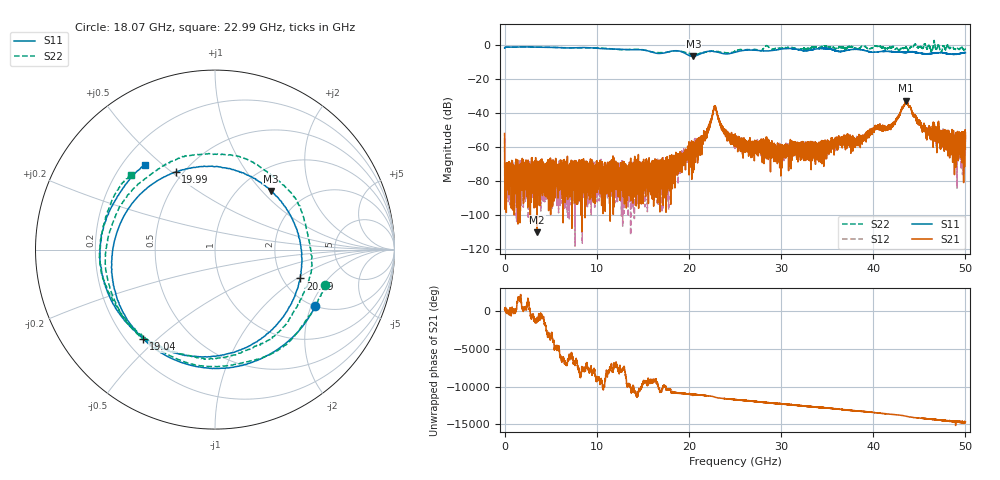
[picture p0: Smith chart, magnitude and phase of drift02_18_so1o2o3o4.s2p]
!Created with skrf (http://scikit-rf.org).
# Hz S RI R 50.0
!freq ReS11 ImS11 ReS21 ImS21 ReS12 ImS12 ReS22 ImS22
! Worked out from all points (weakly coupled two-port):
!   10001 points, 300 kHz to 50 GHz, reference 50 ohm
!   highest |S21| = -32.90 dB at 43.57 GHz (marker M1); lowest = -110.0 dB at 3.535 GHz (marker M2)
!   lowest |S11| = -6.9 dB at 20.49 GHz (marker M3), VSWR 2.64, Z = 68.6 + j56.1 ohm
!   |S11| at or under -10 dB: nowhere
!   |S22| runs from -5.7 to 2.4 dB; largest |S21 - S12| = 0.004
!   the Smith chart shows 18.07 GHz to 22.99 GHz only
!   S11 on the Smith chart (normalised r, x): 18.07 GHz: 2.00, -2.13; 19.04 GHz: 0.27, -0.45; 19.99 GHz: 0.46, +0.52; 20.99 GHz: 2.48, -1.07; 22.99 GHz: 0.29, +0.44
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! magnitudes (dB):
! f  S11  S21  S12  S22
! 300 kHz  -2.1  -52.1  -54.8  -2.1
! 265.3 MHz  -1.4  -73.8  -76.5  -1.4
! 3.535 GHz  -1.5  -110.0  -84.1  -1.5
! 8.335 GHz  -1.7  -75.4  -89.1  -1.9
! 16.67 GHz  -5.2  -77.5  -68.3  -4.7
! 18.07 GHz  -3.9  -73.3  -73.4  -3.8
! 19.04 GHz  -3.9  -68.8  -65.2  -3.9
! 19.99 GHz  -6.3  -63.7  -65.9  -5.2
! 20.49 GHz  -6.9  -62.9  -68.2  -5.5
! 20.99 GHz  -6.0  -55.0  -58.6  -5.6
! 22.01 GHz  -4.0  -50.3  -50.6  -4.2
! 22.72 GHz  -4.1  -37.4  -37.5  -3.9
! 22.99 GHz  -4.2  -38.7  -38.8  -4.1
! 23.73 GHz  -5.3  -48.9  -50.7  -4.6
! 25 GHz  -4.5  -55.2  -58.9  -3.9
! 29.74 GHz  -2.9  -63.3  -62.7  -2.1
! 33.34 GHz  -3.1  -60.3  -58.8  -1.6
! 41.67 GHz  -4.0  -47.8  -48.7  -1.9
! 43.57 GHz  -4.3  -32.9  -33.1  -1.5
! 45.91 GHz  -5.4  -51.8  -51.8  -1.9
! 48.87 GHz  -5.7  -55.7  -59.2  -2.7
! 50 GHz  -4.7  -55.1  -63.5  -2.7
